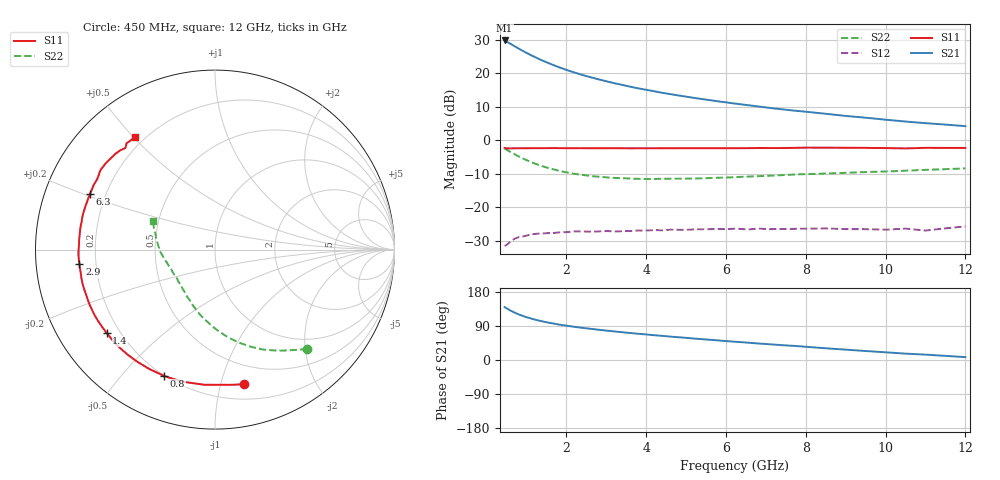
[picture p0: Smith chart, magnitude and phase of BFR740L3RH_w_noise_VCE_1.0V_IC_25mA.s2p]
! (c) 2012  Infineon Technologies AG, Munich
! Infineon Technologies  Discrete & RF Semiconductors
! BFR740L3RH
! VCE =  1.0 V,  IC =  25 mA
! Common Emitter S-Parameters:  May 2012
# GHz  S  MA  R  50
!  f  S11  S21  S12  S22
! GHz  MAG  ANG  MAG  ANG  MAG  ANG  MAG  ANG
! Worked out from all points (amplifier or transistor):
!   85 points, 450 MHz to 12 GHz, reference 50 ohm
!   highest |S21| = 29.7 dB at 450 MHz (marker M1)
!   |S21| within 3 dB of that: start of sweep to 889.4 MHz
!   unconditionally stable (mu >= 1): 5.261 GHz to end of sweep
!   at 1.8 GHz: K = 0.35, MSG = 24.6 dB, |S12| = -27.5 dB
!   at 4.6 GHz: K = 0.88, MSG = 20.2 dB, |S12| = -26.7 dB
!   at 12 GHz: K = 2.23, MAG = 8.7 dB, |S12| = -25.7 dB
!   lowest NFmin = 1.03 dB at 450 MHz
!   S11 on the Smith chart (normalised r, x): 450 MHz: 0.32, -1.19; 800 MHz: 0.20, -0.66; 1.4 GHz: 0.15, -0.33; 2.9 GHz: 0.14, -0.05; 6.3 GHz: 0.14, +0.21; 12 GHz: 0.17, +0.51
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0.45  0.768 -77.7  30.68 139.6  0.0264 59.5  0.7548 -47.1
0.5  0.7582 -83.6  29.47 136.4  0.0276 53.6  0.7228 -50.6
0.6  0.7554 -94.6  27.25 130.3  0.0309 45.9  0.6668 -57.7
0.7  0.7583 -104.0  25.17 125.0  0.0341 41.4  0.6187 -64.2
0.8  0.7589 -111.9  23.25 120.5  0.0359 37.1  0.5753 -70.0
0.9  0.7592 -118.8  21.55 116.5  0.0368 34.2  0.5373 -75.2
1  0.7601 -124.8  20.03 113.0  0.0379 31.9  0.5051 -79.8
1.1  0.7614 -130.0  18.68 109.9  0.0392 29.7  0.4766 -84.1
1.2  0.7622 -134.5  17.48 106.9  0.0401 28.2  0.451 -88.1
1.4  0.7618 -142.4  15.39 101.9  0.0408 26.4  0.4094 -95.1
1.6  0.7635 -148.8  13.74 97.6  0.0415 22.8  0.3787 -101.5
1.8  0.763 -154.3  12.32 93.8  0.0423 20.7  0.3527 -107.1
2.1  0.7607 -161.0  10.67 89.0  0.0432 18.9  0.3239 -114.3
2.4  0.7617 -166.4  9.391 84.9  0.0437 18.8  0.3047 -120.7
2.9  0.7599 -173.9  7.823 78.7  0.0442 16.6  0.2834 -129.5
3.6  0.7578 177.8  6.279 71.2  0.0443 16.3  0.2688 -140.3
4.3  0.7594 171.3  5.224 64.5  0.0457 16.5  0.266 -148.3
5.2  0.7614 163.6  4.279 56.6  0.047 16.0  0.269 -157.9
6.3  0.7617 155.8  3.473 47.6  0.048 16.0  0.2833 -167.6
8.5  0.7758 141.6  2.479 30.9  0.0485 15.2  0.3195 174.8
10.5  0.755 131.4  1.9 16.8  0.0482 19.5  0.3518 163.2
12  0.7684 125.3  1.622 7.6  0.052 26.7  0.3804 155.6
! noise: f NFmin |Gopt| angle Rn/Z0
0.45  1.03  0.05  178  0.12
0.9  1.04  0.05  160  0.11
1.5  1.05  0.07  144  0.11
1.9  1.06  0.09  139  0.11
2.4  1.08  0.11  136  0.1
3.5  1.13  0.13  142  0.1
5.5  1.26  0.2  154  0.09
8  1.46  0.27  180  0.09
10  1.64  0.31  -162  0.1
12  1.82  0.36  -140  0.11
